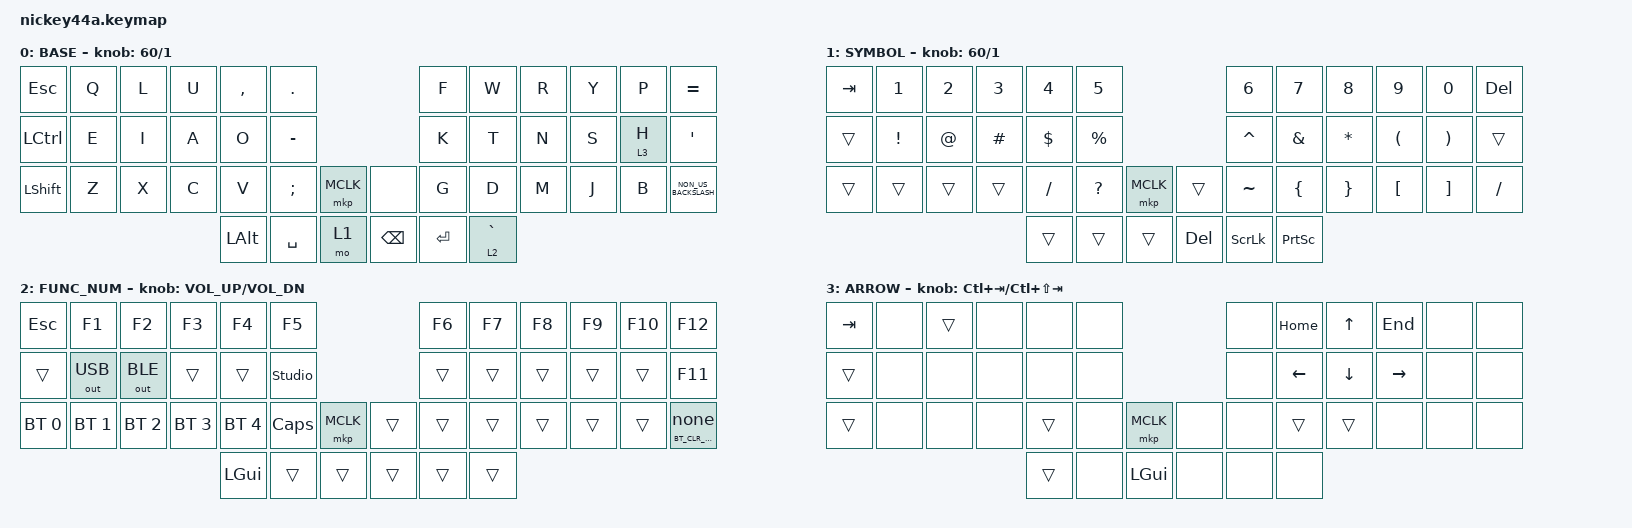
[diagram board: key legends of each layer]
#include <behaviors.dtsi>
#include <behaviors/hires_dial.dtsi>
#include <dt-bindings/zmk/bt.h>
#include <dt-bindings/zmk/outputs.h>
#include <dt-bindings/zmk/keys.h>
#include <dt-bindings/zmk/pointing.h>

// 大西配列。hayawo/zmk-SIDE48 (config/side48.keymap) をもとに調整。
// Nickey44A-PAD (ダイヤル版): 右の内側キー位置に TPS43 トラックパッド、
//   左の内側キー位置に高分解能ダイヤル (sekigon hires-dial-module)。
//   右の内側キー (旧 SLASH) は &none。左の内側キー (旧 LEFT_WIN) の位置は
//   ダイヤルの押し込み。
// ダイヤル (回す) / 押し込みは全レイヤーで中クリック:
//   BASE     縦スクロール (右回り=下、左回り=上)
//   SYMBOL   横スクロール (右回り=右、左回り=左)
//   FUNC_NUM 音量 (右回り=上げる)
//   ARROW    タブ切替 (右回り=次のタブ Ctrl+Tab)
// 親指キー 3 個:
//   左: Alt Space SYMBOL
//   右: BS Enter, タップ=GRAVE(半角/全角) 長押し=FUNC_NUM
// トラックパッドの動作は docs/dual-tps43.md を参照。
//   Layer 1 (SYMBOL) 中は右パッドの1本指移動がドラッグになり、
//   2本指タップが中クリックになる。
//   Alt を押している間は右パッドのカーソルが 1/4 の速さ (精密操作)。
// H 長押し=ARROW。
// BT_CLR は FUNC_NUM の右下角 (NUBS の位置) を 2 秒長押ししたときだけ効く
//   (bt_clr_hold)。消えるのは選択中のプロファイルのペアリングだけ。
//   全部消したいときは settings_reset を左右に書き込む。
// FUNC_NUM の E / I の位置: 出力先を USB / Bluetooth に切り替え (USB 接続中に BT で使うとき)。
// ZMK Studio のロック解除 (&studio_unlock) は FUNC_NUM の - の位置 (Caps の上)。
// SIDE48 の MOUSE / FUNCTION / SPARE レイヤーは省略 (ポインティングはパッド側で処理)。
//
// レイヤー: 0 BASE / 1 SYMBOL / 2 FUNC_NUM / 3 ARROW

&mt {
    flavor = "balanced";
    quick-tap-ms = <0>;
};

&lt {
    quick-tap-ms = <300>;
    flavor = "balanced";
};

&hires_dial_encoder {
    sensor = <&hires_dial>;
};

&hires_dial_scroll {
    sensor = <&hires_dial>;
};

&hires_dial_hscroll {
    sensor = <&hires_dial>;
};

/ {
    behaviors {
        // 2 秒押し続けたときだけ BT_CLR。それより早く離すと何もしない。
        bt_clr_hold: bt_clr_hold {
            compatible = "zmk,behavior-hold-tap";
            #binding-cells = <2>;
            flavor = "tap-preferred";
            tapping-term-ms = <2000>;
            bindings = <&bt>, <&none>;
        };
    };

    // ダイヤルの回転量 → 出力の換算 (1 周 ≒ 1500 カウント)。
    //   &hires_dial_encoder: 1 周で 24 回 (sensors の triggers-per-rotation)。
    //   &hires_dial_scroll / &hires_dial_hscroll A B: A カウントごとに B 段。

    keymap {
        compatible = "zmk,keymap";

        layer_0 {
            display-name = "BASE";
            bindings = <
&kp ESC           &kp Q  &kp L  &kp U  &kp COMMA     &kp PERIOD                        &kp F      &kp W        &kp R  &kp Y  &kp P    &kp EQUAL
&kp LEFT_CONTROL  &kp E  &kp I  &kp A  &kp O         &kp MINUS                         &kp K      &kp T        &kp N  &kp S  &lt 3 H  &kp SQT
&kp LSHFT         &kp Z  &kp X  &kp C  &kp V         &kp SEMICOLON  &mkp MCLK  &none     &kp G      &kp D        &kp M  &kp J  &kp B    &kp NON_US_BACKSLASH
                                       &kp LEFT_ALT  &kp SPACE      &mo 1    &kp BSPC  &kp ENTER  &lt 2 GRAVE
            >;
            sensor-bindings = <&hires_dial_scroll 60 1>;
        };

        layer_1 {
            display-name = "SYMBOL";
            bindings = <
&kp TAB  &kp N1    &kp N2  &kp N3    &kp N4      &kp N5                           &kp N6          &kp N7           &kp N8           &kp N9                &kp N0                 &kp DELETE
&trans   &kp EXCL  &kp AT  &kp HASH  &kp DOLLAR  &kp PRCNT                        &kp CARET       &kp AMPERSAND    &kp ASTRK        &kp LEFT_PARENTHESIS  &kp RIGHT_PARENTHESIS  &trans
&trans   &trans    &trans  &trans    &kp SLASH   &kp QUESTION  &mkp MCLK &trans   &kp TILDE       &kp LEFT_BRACE   &kp RIGHT_BRACE  &kp LEFT_BRACKET      &kp RIGHT_BRACKET      &kp SLASH
                                     &trans      &trans        &trans    &kp DEL  &kp SCROLLLOCK  &kp PRINTSCREEN
            >;
            sensor-bindings = <&hires_dial_hscroll 60 1>;
        };

        layer_2 {
            display-name = "FUNC_NUM";
            bindings = <
&kp ESCAPE    &kp F1        &kp F2        &kp F3        &kp F4        &kp F5                            &kp F6  &kp F7  &kp F8  &kp F9  &kp F10  &kp F12
&trans        &out OUT_USB  &out OUT_BLE  &trans        &trans        &studio_unlock                    &trans  &trans  &trans  &trans  &trans   &kp F11
&bt BT_SEL 0  &bt BT_SEL 1  &bt BT_SEL 2  &bt BT_SEL 3  &bt BT_SEL 4  &kp CAPS        &mkp MCLK  &trans  &trans  &trans  &trans  &trans  &trans   &bt_clr_hold BT_CLR_CMD 0
                                                        &kp LEFT_GUI  &trans          &trans    &trans  &trans  &trans
            >;
            sensor-bindings = <&hires_dial_encoder C_VOL_UP C_VOL_DN>;
        };

        layer_3 {
            display-name = "ARROW";
            bindings = <
&kp TAB  &none  &trans  &none  &none   &none                         &none  &kp HOME        &kp UP_ARROW    &kp END          &none  &none
&trans   &none  &none   &none  &none   &none                         &none  &kp LEFT_ARROW  &kp DOWN_ARROW  &kp RIGHT_ARROW  &none  &none
&trans   &none  &none   &none  &trans  &none  &mkp MCLK       &none  &none  &trans          &trans          &none            &none  &none
                               &trans  &none  &kp LEFT_GUI    &none  &none  &none
            >;
            sensor-bindings = <&hires_dial_encoder LC(TAB) LC(LS(TAB))>;
        };
    };
};
